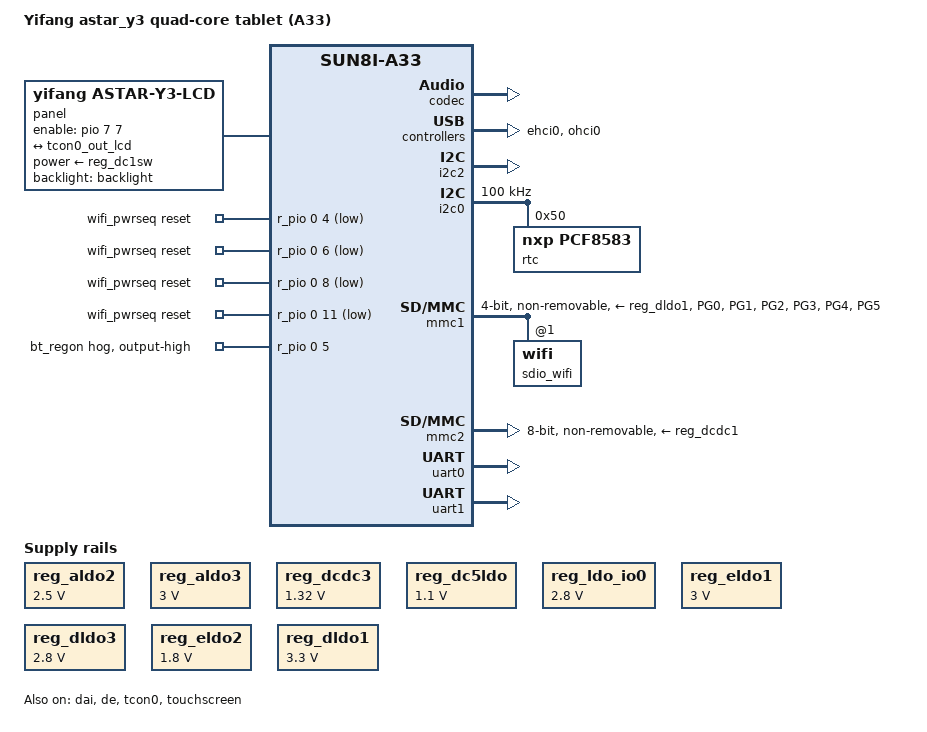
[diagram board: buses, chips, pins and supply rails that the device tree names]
// SPDX-License-Identifier: (GPL-2.0+ or MIT)
/*
 * DTS for the Yifang "astar_y3" A33 tablet (marketed as "QUAD-CORE A33 y3",
 * firmware yf_a33_V05 / astar_y3 / 56iqDS, Allwinner A33, 1 GB RAM, eMMC).
 *
 * Hardware information was recovered from the stock Android 4.4.2
 * installation (lichee-3.4.39 BSP kernel) via adb:
 *
 *   - LCD: 1024x600 LVDS panel ("24Bit LVDS" per vendor kernel),
 *   LVDS0 on PD18..PD27, backlight on PWM0
 *     dmesg [DISP]: lcd_hbp = 158, lcd_vt = 635, lcd_vbp = 23,
 *   lcd_hspw = 20, lcd_vspw = 3, "WRN03: Recommend lcd_dclk_frq = 51"
 *   (lcd_ht = 1344 / hfront-porch = 142 computed from the recommended
 *   51 MHz dot clock, vfront-porch = 9 from lcd_vt)
 *   - Touch: Ilitek controller (BSP "ilitek_i2c"), i2c0 (PH2/PH3) addr 0x41,
 *   IRQ = PB5 (BSP gpio 37), reset/wakeup = PH1 (BSP gpio 225, active high)
 *   - Wi-Fi/BT: AMPAK AP6210 (Broadcom BCM43362, fw_bcm40181a2) on mmc1,
 *   WL_REGON = PL4 (BSP gpio 356), BT_REGON = PL5 (BSP gpio 357),
 *   BT HCI on uart1 (PG6..PG9, 4 wire)
 *   - PMIC: AXP223 on RSB; touch rail ELDO1 @ 3.0V, wifi rail DLDO1 @ 3.3V
 *   - RTC: NXP PCF8583 on i2c1 (PH4/PH5), addr 0x50
 *   - Accelerometer: MMA865x on i2c1 @ 0x1d (no mainline driver, left out)
 *   - Camera: GC2035 on i2c2 (PE12/PE13) + parallel CSI (PE0..PE11),
 *   reset/pwdn = PE15/PE16 (no mainline driver, left out)
 *   - Debug UART: PB0/PB1 (115200 8N1), TF-card detect = PB4, USB0 ID = PH8
 *   - Leds: red/green on AXP223 GPIO0/GPIO2 (not wired up in mainline)
 */

/dts-v1/;
#include "sun8i-a33.dtsi"
#include "sun8i-reference-design-tablet.dtsi"

#include <dt-bindings/gpio/gpio.h>
#include <dt-bindings/input/input.h>
#include <dt-bindings/pwm/pwm.h>

/ {
	model = "Yifang astar_y3 quad-core tablet (A33)";
	compatible = "yifang,astar-y3", "allwinner,sun8i-a33";

	aliases {
		ethernet0 = &sdio_wifi;
		serial0 = &uart0;
	};

	chosen {
		stdout-path = "serial0:115200n8";
	};

	panel {
		compatible = "yifang,astar-y3-lcd", "panel-lvds";

		/*
		 * Vendor reports "24Bit LVDS Panel" - 4 data pairs + clock,
		 * wired to PD18..PD27 (LVDS0 function of the A33 TCON).
		 * Start with VESA mapping; flip to "jeida-24" if colors are
		 * swapped.
		 */
		data-mapping = "vesa-24";

		backlight = <&backlight>;
		power-supply = <&reg_dc1sw>;
		enable-gpios = <&pio 7 7 GPIO_ACTIVE_HIGH>; /* PH7 */

		width-mm = <154>;
		height-mm = <91>;

		/*
		 * Timings as configured by the vendor kernel (60 Hz).
		 * Porch split (B-variant) verified against the vendor TCON
		 * BASIC1/BASIC2 registers dumped via /dev/mem: hbp/vbp in the
		 * Allwinner fex semantics INCLUDE the sync widths.
		 * hsync/vsync polarity: active-high (vendor IO_POL = 0).
		 * The LVDS clock/data polarity quirks for this panel cannot be
		 * expressed in DT and are handled by the kernel patch
		 * "drm-sun4i-tcon-astar-y3-lvds-vendor-quirks.patch".
		 */
		panel-timing {
			clock-frequency = <51000000>;

			hactive = <1024>;
			hfront-porch = <162>;
			hback-porch = <138>;
			hsync-len = <20>;

			vactive = <600>;
			vfront-porch = <12>;
			vback-porch = <20>;
			vsync-len = <3>;

			hsync-active = <1>;
			vsync-active = <1>;
			de-active = <1>;
			pixelclk-active = <1>;
		};

		port {
			panel_input: endpoint {
				remote-endpoint = <&tcon0_out_lcd>;
			};
		};
	};

	wifi_pwrseq: wifi-pwrseq {
		compatible = "mmc-pwrseq-simple";
		/*
		 * Vendor firmware drives FOUR r_pio lines high for the wifi
		 * module (raw r_pio dump from Android: PL4, PL6, PL8, PL11):
		 * WL_REGON plus module LDO/32k enables. All are released
		 * (driven high) together on power-up.
		 */
		reset-gpios = <&r_pio 0 4 GPIO_ACTIVE_LOW>,  /* PL4 WL_REGON */
			      <&r_pio 0 6 GPIO_ACTIVE_LOW>,  /* PL6 module en */
			      <&r_pio 0 8 GPIO_ACTIVE_LOW>,  /* PL8 module en */
			      <&r_pio 0 11 GPIO_ACTIVE_LOW>; /* PL11 module en */
		/* AP6210 modules often need the RTC 32k fanout clock (LPO) */
		clocks = <&rtc CLK_OSC32K_FANOUT>;
		clock-names = "ext_clock";
		post-power-on-delay-ms = <300>;
	};
};

&codec {
	status = "okay";
};

&dai {
	status = "okay";
};

&de {
	status = "okay";
};

&ehci0 {
	status = "okay";
};

/* Third physical I2C bus (PE12/PE13), free on this board (no camera) */
&i2c2 {
	pinctrl-names = "default";
	pinctrl-0 = <&i2c2_pins>;
	status = "okay";
};

/*
 * i2c bus map confirmed by i2cdetect (PH2/PH3 bus, PH4/PH5 bus):
 *   bus0 (i2c0): ILI210x touch @0x41, PCF8583 RTC @0x50
 *   bus1 (i2c1): MMA865x accelerometer @0x1d (no mainline driver)
 *   bus2 (i2c2): empty
 * Note: the vendor wired the RTC to the SAME bus as the touch.
 */
&i2c0 {
	/* PCF8583 is only rated for 100 kHz - slow the bus down for it */
	clock-frequency = <100000>;

	/* Battery backed RTC, shares the bus with the touch panel */
	rtc@50 {
		compatible = "nxp,pcf8583";
		reg = <0x50>;
	};
};

&mmc1 {
	pinctrl-names = "default";
	pinctrl-0 = <&mmc1_pg_pins_pullup>;
	vmmc-supply = <&reg_dldo1>;
	mmc-pwrseq = <&wifi_pwrseq>;
	bus-width = <4>;
	non-removable;
	max-frequency = <50000000>;
	status = "okay";

	sdio_wifi: wifi@1 {
		reg = <1>;
	};
};

&r_pio {
	/* BT_REGON high: the AP6210 shares internal LDO enables with the
	 * BT section; the vendor firmware drives it high during wifi use */
	bt_regon_hub: bt-regon-hub {
		gpio-hog;
		gpios = <0 5 GPIO_ACTIVE_HIGH>; /* PL5 */
		line-name = "bt_regon";
		output-high;
	};
};

/* Internal eMMC (Android dual-boot storage), 8-bit on mmc2 */
&mmc2 {
	pinctrl-names = "default";
	pinctrl-0 = <&mmc2_8bit_pins>;
	vmmc-supply = <&reg_dcdc1>;
	bus-width = <8>;
	non-removable;
	status = "okay";
};

&ohci0 {
	status = "okay";
};

/*
 * Regulator states mirrored 1:1 from the live tablet (stock Android BSP),
 * see tablet_dump/regulators.txt:
 *   aldo1=3.0V  aldo2=2.5V  aldo3=3.0V        dcdc1=3.0V
 *   dcdc2=1.1V (cpu dvfs rail, range kept)    dcdc3=1.32V (fixed)
 *   dcdc5=1.5V  dc5ldo=1.1V  dc1sw=on (switch of dcdc1)
 *   dldo1=3.3V (wifi)  ldo_io0=2.8V (on)      eldo1=3.0V (touch)
 *   dldo3=2.8V (off)   eldo2=1.8V (off)       dldo2/dldo4/eldo3 (off)
 */
&reg_aldo2 {
	regulator-min-microvolt = <2500000>;
	regulator-max-microvolt = <2500000>;
};

&reg_aldo3 {
	regulator-min-microvolt = <3000000>;
	regulator-max-microvolt = <3000000>;
};

&reg_dcdc3 {
	regulator-min-microvolt = <1320000>;
	regulator-max-microvolt = <1320000>;
};

&reg_dc5ldo {
	regulator-min-microvolt = <1100000>;
	regulator-max-microvolt = <1100000>;
};

/* enabled at 2.8V on the device (sensor rail of the camera board) */
&reg_ldo_io0 {
	regulator-min-microvolt = <2800000>;
	regulator-max-microvolt = <2800000>;
	regulator-always-on;
	status = "okay";
};

/*
 * Vendor kernel powers the touch panel from ELDO1 @ 3.0V. Android's CTP
 * driver enables it on demand; mainline has no consumer for it, so keep
 * it always on.
 */
&reg_eldo1 {
	regulator-min-microvolt = <3000000>;
	regulator-max-microvolt = <3000000>;
	regulator-name = "vcc-ctp";
	regulator-always-on;
};

&reg_dldo3 {
	regulator-min-microvolt = <2800000>;
	regulator-max-microvolt = <2800000>;
};

&reg_eldo2 {
	regulator-min-microvolt = <1800000>;
	regulator-max-microvolt = <1800000>;
};

/*
 * DLDO1 @ 3.3V: SDIO wifi supply AND the enable for the USB host VBUS
 * boost converter (see &usbphy below). Pinned explicitly so it can
 * never be re-probed to a different voltage.
 */
&reg_dldo1 {
	regulator-min-microvolt = <3300000>;
	regulator-max-microvolt = <3300000>;
	regulator-name = "vcc-wifi-usb";
	regulator-always-on;
};

/*
 * The internal USB host bus (Genesys Logic GL850-style hub 05e3:0608 with
 * a Supereal SR9800 USB ethernet 0fe6:9800 behind it) is powered from
 * PMIC DLDO1 @ 3.3V (gates the 5V VBUS boost) - confirmed by prior
 * hands-on experiments on this very board and matching the upstream
 * q8 tablet reference design (sun8i-q8-common.dtsi).
 */
&usbphy {
	usb1_vbus-supply = <&reg_dldo1>;
};

&sound {
	/* Board level jack widgets */
	simple-audio-card,widgets = "Microphone", "Microphone Jack",
				    "Headphone", "Headphone Jack";
	/* Board level routing. First 2 routes copied from SoC level */
	simple-audio-card,routing =
		"Left DAC", "DACL",
		"Right DAC", "DACR",
		"HP", "HPCOM",
		"Headphone Jack", "HP",
		"MIC1", "Microphone Jack",
		"Microphone Jack", "MBIAS";
	status = "okay";
};

&pio {
	lvds0_pins: lvds0-pins {
		pins = "PD18", "PD19", "PD20", "PD21", "PD22", "PD23",
		       "PD24", "PD25", "PD26", "PD27";
		function = "lvds0";
	};

	/* vendor BSP drives the SDIO bus with pull-ups + strong drivers */
	mmc1_pg_pins_pullup: mmc1-pg-pins-pullup {
		pins = "PG0", "PG1", "PG2", "PG3", "PG4", "PG5";
		function = "mmc1";
		drive-strength = <30>;
		bias-pull-up;
	};
};

&tcon0 {
	pinctrl-names = "default";
	pinctrl-0 = <&lvds0_pins>;
	status = "okay";
};

&tcon0_out {
	tcon0_out_lcd: endpoint@0 {
		reg = <0>;
		remote-endpoint = <&panel_input>;
	};
};

&touchscreen {
	reg = <0x41>;
	compatible = "ilitek,ili210x";
	/delete-property/ power-gpios;
	/*
	 * PH1 is "wakeup", active high in the vendor kernel, so model it
	 * as an active-low reset: ili210x releases it (drives it high)
	 * after probing.
	 */
	reset-gpios = <&pio 7 1 GPIO_ACTIVE_LOW>; /* PH1 */
	touchscreen-size-x = <1024>;
	touchscreen-size-y = <600>;
	status = "okay";
};

&uart0 {
	pinctrl-names = "default";
	pinctrl-0 = <&uart0_pb_pins>;
	status = "okay";
};

/* AP6210 bluetooth HCI (4-wire, needs userspace hciattach) */
&uart1 {
	pinctrl-names = "default";
	pinctrl-0 = <&uart1_pg_pins>, <&uart1_cts_rts_pg_pins>;
	status = "okay";
};
